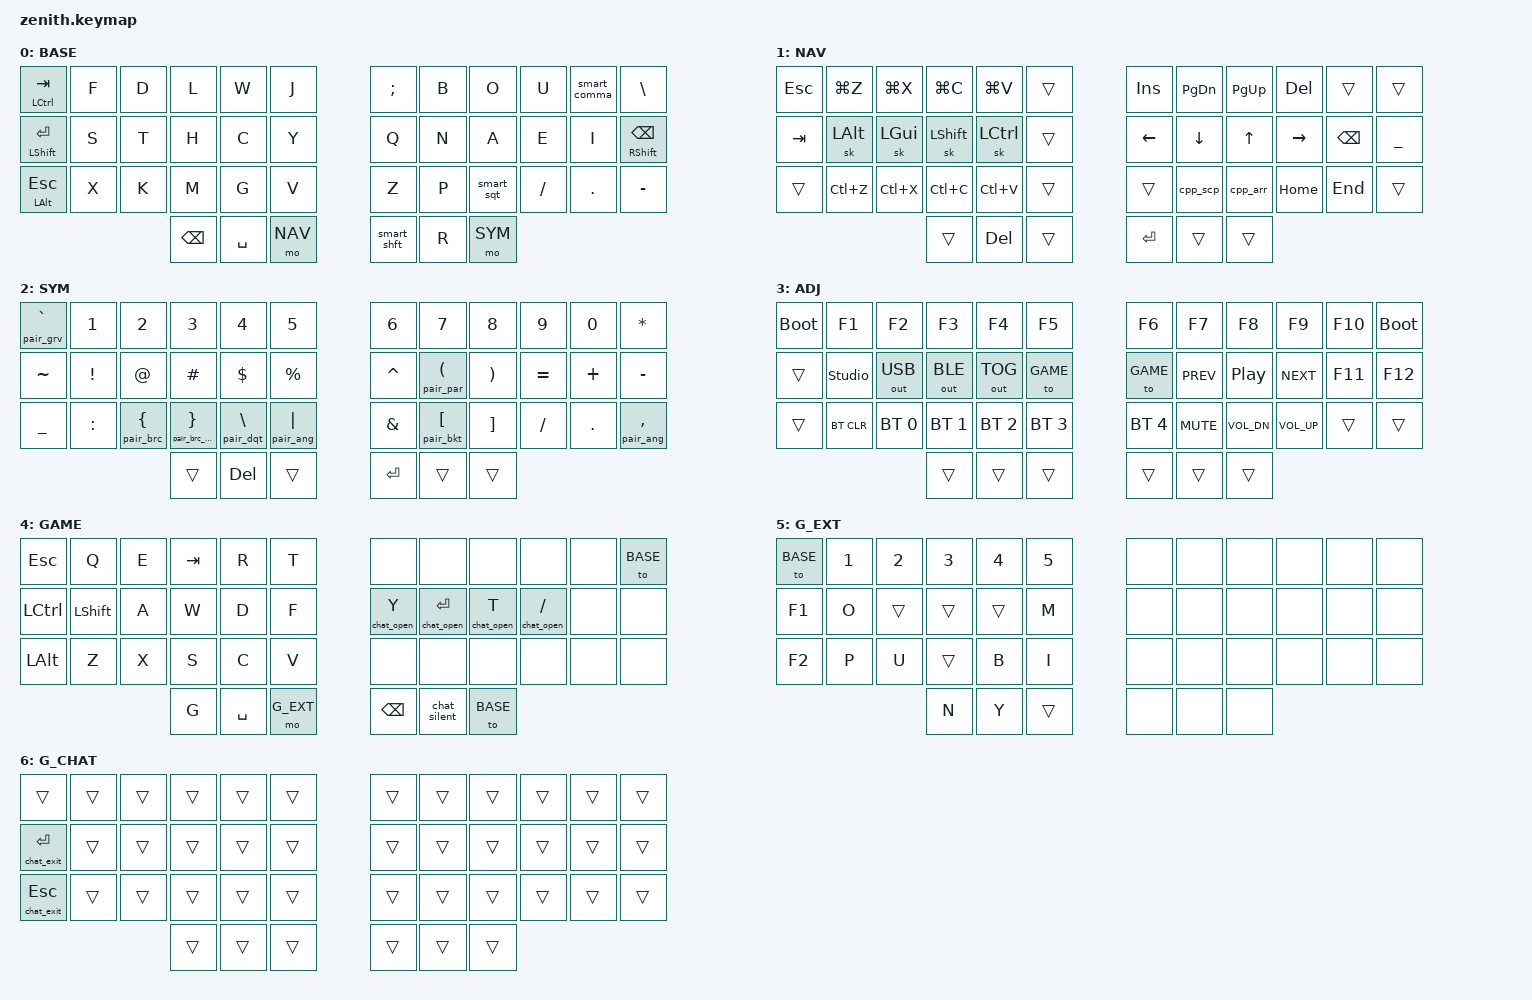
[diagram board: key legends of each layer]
/*
 * ZENITH 42-KEY — RACKET (BY GALILEOBLUES) + GAME & CHAT LAUNCHPAD
 *
 * Matrix / Binding Order:
 *   00 01 02 03 04 05     06 07 08 09 10 11
 *   12 13 14 15 16 17     18 19 20 21 22 23
 *   24 25 26 27 28 29     30 31 32 33 34 35
 *            36 37 38     39 40 41
 */

#include <behaviors.dtsi>
#include <dt-bindings/zmk/keys.h>
#include <dt-bindings/zmk/bt.h>
#include <dt-bindings/zmk/outputs.h>

#define BASE   0
#define NAV    1
#define SYM    2
#define ADJ    3
#define GAME   4
#define G_EXT  5
#define G_CHAT 6

&mt {
    flavor = "tap-preferred";
    tapping-term-ms = <200>;
    quick-tap-ms = <175>;
    require-prior-idle-ms = <125>;
};

&lt {
    flavor = "balanced";
    tapping-term-ms = <200>;
    quick-tap-ms = <175>;
};

&sk {
    release-after-ms = <1000>;
    quick-release;
    /delete-property/ ignore-modifiers;
};

&caps_word {
    continue-list = <UNDERSCORE MINUS BSPC DEL N1 N2 N3 N4 N5 N6 N7 N8 N9 N0>;
};

/ {
    behaviors {
        /*
         * Smart Shift (Mod-Morph):
         * - 1st Tap: Sticky Shift (&sk LSHFT)
         * - 2nd Tap (while Shift is active): Caps Word (&caps_word)!
         */
        smart_shft: smart_shift {
            compatible = "zmk,behavior-mod-morph";
            #binding-cells = <0>;
            bindings = <&sk LSHFT>, <&caps_word>;
            mods = <(MOD_LSFT|MOD_RSFT)>;
        };

        /*
         * Tap = Single Opening Symbol   (  [  {  }  `  '  "  <
         * Hold = Auto-Pair + Cursor In  () [] {} {}; `` '' "" <>
         */
        ht_par: hold_tap_paren {
            compatible = "zmk,behavior-hold-tap";
            #binding-cells = <2>;
            flavor = "tap-preferred";
            tapping-term-ms = <185>;
            quick-tap-ms = <150>;
            bindings = <&pair_par>, <&kp>;
        };
        ht_bkt: hold_tap_bracket {
            compatible = "zmk,behavior-hold-tap";
            #binding-cells = <2>;
            flavor = "tap-preferred";
            tapping-term-ms = <185>;
            quick-tap-ms = <150>;
            bindings = <&pair_bkt>, <&kp>;
        };
        ht_brc: hold_tap_brace {
            compatible = "zmk,behavior-hold-tap";
            #binding-cells = <2>;
            flavor = "tap-preferred";
            tapping-term-ms = <185>;
            quick-tap-ms = <150>;
            bindings = <&pair_brc>, <&kp>;
        };
        ht_brc_semi: hold_tap_brace_semi {
            compatible = "zmk,behavior-hold-tap";
            #binding-cells = <2>;
            flavor = "tap-preferred";
            tapping-term-ms = <185>;
            quick-tap-ms = <150>;
            bindings = <&pair_brc_semi>, <&kp>;
        };
        ht_grv: hold_tap_grave {
            compatible = "zmk,behavior-hold-tap";
            #binding-cells = <2>;
            flavor = "tap-preferred";
            tapping-term-ms = <185>;
            quick-tap-ms = <150>;
            bindings = <&pair_grv>, <&kp>;
        };
        ht_sqt: hold_tap_sqt {
            compatible = "zmk,behavior-hold-tap";
            #binding-cells = <2>;
            flavor = "tap-preferred";
            tapping-term-ms = <190>;
            quick-tap-ms = <150>;
            bindings = <&pair_sqt>, <&kp>;
        };
        ht_dqt: hold_tap_dqt {
            compatible = "zmk,behavior-hold-tap";
            #binding-cells = <2>;
            flavor = "tap-preferred";
            tapping-term-ms = <190>;
            quick-tap-ms = <150>;
            bindings = <&pair_dqt>, <&kp>;
        };
        ht_ang: hold_tap_angle {
            compatible = "zmk,behavior-hold-tap";
            #binding-cells = <2>;
            flavor = "tap-preferred";
            tapping-term-ms = <190>;
            quick-tap-ms = <150>;
            bindings = <&pair_ang>, <&kp>;
        };

        /*
         * Shift-Aware Quote on BASE Pos 32:
         * - Unshifted: Tap = '  | Hold = '|'
         * - Shifted:   Tap = "  | Hold = "|"
         */
        smart_sqt: smart_quote_morph {
            compatible = "zmk,behavior-mod-morph";
            #binding-cells = <0>;
            bindings = <&ht_sqt 0 SQT>, <&ht_dqt 0 DQT>;
            mods = <(MOD_LSFT|MOD_RSFT)>;
        };

        /*
         * Shift-Aware Comma / Angle Bracket on BASE Pos 10:
         * - Unshifted: Pure , (zero hold delay for normal typing!)
         * - Shifted:   Tap = <  | Hold = <|> (C++ templates & includes!)
         */
        smart_comma: smart_comma_morph {
            compatible = "zmk,behavior-mod-morph";
            #binding-cells = <0>;
            bindings = <&kp COMMA>, <&ht_ang 0 LT>;
            mods = <(MOD_LSFT|MOD_RSFT)>;
        };
    };

    conditional_layers {
        compatible = "zmk,conditional-layers";

        nav_sym_adjust {
            if-layers = <NAV SYM>;
            then-layer = <ADJ>;
        };
    };

    macros {
        /* Auto-closing bracket & quote pairs (places cursor inside!) */
        pair_par: pair_par {
            compatible = "zmk,behavior-macro";
            #binding-cells = <0>;
            wait-ms = <10>;
            tap-ms = <10>;
            bindings = <&kp LPAR &kp RPAR &kp LEFT>;
        };
        pair_bkt: pair_bkt {
            compatible = "zmk,behavior-macro";
            #binding-cells = <0>;
            wait-ms = <10>;
            tap-ms = <10>;
            bindings = <&kp LBKT &kp RBKT &kp LEFT>;
        };
        pair_brc: pair_brc {
            compatible = "zmk,behavior-macro";
            #binding-cells = <0>;
            wait-ms = <10>;
            tap-ms = <10>;
            bindings = <&kp LBRC &kp RBRC &kp LEFT>;
        };
        /* C++ Struct/Class/Lambda close: {|}; */
        pair_brc_semi: pair_brc_semi {
            compatible = "zmk,behavior-macro";
            #binding-cells = <0>;
            wait-ms = <10>;
            tap-ms = <10>;
            bindings = <&kp LBRC &kp RBRC &kp SEMI &kp LEFT &kp LEFT>;
        };
        /* Angle brackets <|> for C++ templates */
        pair_ang: pair_ang {
            compatible = "zmk,behavior-macro";
            #binding-cells = <0>;
            wait-ms = <10>;
            tap-ms = <10>;
            bindings
                = <&macro_tap &none>
                , <&macro_release &kp LSHFT &kp RSHFT>
                , <&macro_tap &kp LT &kp GT &kp LEFT>
                ;
        };
        /* Single quotes '|' */
        pair_sqt: pair_sqt {
            compatible = "zmk,behavior-macro";
            #binding-cells = <0>;
            wait-ms = <10>;
            tap-ms = <10>;
            bindings = <&kp SQT &kp SQT &kp LEFT>;
        };
        /* Double quotes "|" */
        pair_dqt: pair_dqt {
            compatible = "zmk,behavior-macro";
            #binding-cells = <0>;
            wait-ms = <10>;
            tap-ms = <10>;
            bindings
                = <&macro_tap &none>
                , <&macro_release &kp LSHFT &kp RSHFT>
                , <&macro_tap &kp DQT &kp DQT &kp LEFT>
                ;
        };
        /* Backticks `|` */
        pair_grv: pair_grv {
            compatible = "zmk,behavior-macro";
            #binding-cells = <0>;
            wait-ms = <10>;
            tap-ms = <10>;
            bindings = <&kp GRAVE &kp GRAVE &kp LEFT>;
        };

        /* C++ Quick Operators: -> and :: */
        cpp_arr: cpp_arrow {
            compatible = "zmk,behavior-macro";
            #binding-cells = <0>;
            wait-ms = <10>;
            tap-ms = <10>;
            bindings = <&kp MINUS &kp GT>;
        };
        cpp_scp: cpp_scope {
            compatible = "zmk,behavior-macro";
            #binding-cells = <0>;
            wait-ms = <10>;
            tap-ms = <10>;
            bindings = <&kp COLON &kp COLON>;
        };

        /*
         * 1. Opens in-game chat with a specific key (RET, T, Y, FSLH),
         *    and atomically switches to G_CHAT (which disables GAME and exposes BASE).
         */
        chat_open: chat_open {
            compatible = "zmk,behavior-macro-one-param";
            #binding-cells = <1>;
            wait-ms = <40>;
            tap-ms = <30>;
            bindings
                = <&macro_param_1to1>
                , <&kp MACRO_PLACEHOLDER>
                , <&to G_CHAT>
                ;
        };

        /*
         * 2. Enters typing mode WITHOUT firing a hotkey first
         *    (for clicking into inventory search bars, map markers, or Steam overlay).
         */
        chat_silent: chat_silent {
            compatible = "zmk,behavior-macro";
            #binding-cells = <0>;
            wait-ms = <10>;
            tap-ms = <10>;
            bindings = <&to G_CHAT>;
        };

        /*
         * 3. Sends RET or ESC to close the in-game chat box,
         *    and atomically switches back to GAME (disabling G_CHAT).
         */
        chat_exit: chat_exit {
            compatible = "zmk,behavior-macro-one-param";
            #binding-cells = <1>;
            wait-ms = <30>;
            tap-ms = <30>;
            bindings
                = <&macro_param_1to1>
                , <&kp MACRO_PLACEHOLDER>
                , <&to GAME>
                ;
        };
    };

    keymap {
        compatible = "zmk,keymap";

        /*
         * Layer 0: BASE (Racket by GalileoBlues — Symmetric Outer Columns + Mouse Mods)
         *
         * Ctrl/Tab    F    D    L     W    J      ;    B    O     U     ,     \
         * Shft/Ret    S    T    H     C    Y      Q    N    A     E     I     Shft/Bksp
         * Alt/Esc     X    K    M     G    V      Z    P    '     /     .     -
         *                       Bksp  Spc  NAV    SmartShft  R    SYM
         */
        base_layer {
            display-name = "BASE";
            bindings = <
                &mt LCTRL TAB  &kp F  &kp D  &kp L     &kp W      &kp J        &kp SEMI  &kp B  &kp O      &kp U     &smart_comma &kp BSLH
                &mt LSHFT RET  &kp S  &kp T  &kp H     &kp C      &kp Y        &kp Q     &kp N  &kp A      &kp E     &kp I        &mt RSHFT BSPC
                &mt LALT ESC   &kp X  &kp K  &kp M     &kp G      &kp V        &kp Z     &kp P  &smart_sqt &kp FSLH  &kp DOT      &kp MINUS
                                             &kp BSPC  &kp SPACE  &mo NAV      &smart_shft      &kp R      &mo SYM
            >;
        };

        /*
         * Layer 1: NAV (Sticky/Holdable Callum Mods + Vim/Arrow Nav + C++ Ops)
         *
         * Esc   mUndo   mCut    mCopy    mPste    ---      Ins   PgDn  PgUp  Del    ---   ---
         * Tab   skAlt   skGUI   skShft   skCtrl   ---      Left  Down  Up    Right  Bksp  _
         * ---   wUndo   wCut    wCopy    wPste    ---      ---   ::    ->    Home   End   ---
         *                       Bksp     Del      ---      Ret   ---   ---
         */
        nav_layer {
            display-name = "NAV";
            bindings = <
                &kp ESC  &kp LG(Z)  &kp LG(X)  &kp LG(C)  &kp LG(V)  &trans       &kp INS   &kp PG_DN  &kp PG_UP  &kp DEL    &trans    &trans
                &kp TAB  &sk LALT   &sk LGUI   &sk LSHFT  &sk LCTRL  &trans       &kp LEFT  &kp DOWN   &kp UP     &kp RIGHT  &kp BSPC  &kp UNDER
                &trans   &kp LC(Z)  &kp LC(X)  &kp LC(C)  &kp LC(V)  &trans       &trans    &cpp_scp   &cpp_arr   &kp HOME   &kp END   &trans
                                               &trans     &kp DEL    &trans       &kp RET   &trans     &trans
            >;
        };

        /*
         * Layer 2: SYM
         *
         * `     1    2    3    4    5      6    7    8    9    0    *
         * ~     !    @    #    $    %      ^    (    )    =    +    -
         * _     :    {    }    \    |      &    [    ]    /    .    ,
         *                 Bksp Del  ---    Ret  ---  ---
         */
        sym_layer {
            display-name = "SYM";
            bindings = <
                &ht_grv 0 GRAVE &kp N1    &kp N2          &kp N3               &kp N4         &kp N5            &kp N6     &kp N7         &kp N8    &kp N9     &kp N0    &kp ASTRK
                &kp TILDE       &kp EXCL  &kp AT          &kp HASH             &kp DLLR       &kp PRCNT         &kp CARET  &ht_par 0 LPAR &kp RPAR  &kp EQUAL  &kp PLUS  &kp MINUS
                &kp UNDER       &kp COLON &ht_brc 0 LBRC  &ht_brc_semi 0 RBRC  &ht_dqt 0 BSLH &ht_ang 0 PIPE    &kp AMPS   &ht_bkt 0 LBKT &kp RBKT  &kp FSLH   &kp DOT   &ht_ang 0 COMMA
                                                          &trans               &kp DEL        &trans            &kp RET    &trans         &trans
            >;
        };

        /*
         * Layer 3: ADJ — Active while NAV + SYM are held
         */
        adjust_layer {
            display-name = "ADJ";
            bindings = <
                &bootloader  &kp F1          &kp F2        &kp F3        &kp F4        &kp F5            &kp F6        &kp F7      &kp F8        &kp F9        &kp F10  &bootloader
                &trans       &studio_unlock  &out OUT_USB  &out OUT_BLE  &out OUT_TOG  &to GAME          &to GAME      &kp C_PREV  &kp C_PP      &kp C_NEXT    &kp F11  &kp F12
                &trans       &bt BT_CLR      &bt BT_SEL 0  &bt BT_SEL 1  &bt BT_SEL 2  &bt BT_SEL 3      &bt BT_SEL 4  &kp C_MUTE  &kp C_VOL_DN  &kp C_VOL_UP  &trans   &trans
                                                           &trans        &trans        &trans            &trans        &trans      &trans
            >;
        };

        /*
         * Layer 4: GAME — Left-Hand Layout + Atomic Chat Launchpad
         */
        game_layer {
            display-name = "GAME";
            bindings = <
                &kp ESC    &kp Q      &kp E  &kp TAB &kp R     &kp T          &none         &none           &none         &none            &none  &to BASE
                &kp LCTRL  &kp LSHFT  &kp A  &kp W   &kp D     &kp F          &chat_open Y  &chat_open RET  &chat_open T  &chat_open FSLH  &none  &none
                &kp LALT   &kp Z      &kp X  &kp S   &kp C     &kp V          &none         &none           &none         &none            &none  &none
                                             &kp G   &kp SPACE &mo G_EXT      &kp BSPC      &chat_silent    &to BASE
            >;
        };

        /*
         * Layer 5: G_EXT
         */
        game_ext_layer {
            display-name = "G_EXT";
            bindings = <
                &to BASE   &kp N1  &kp N2  &kp N3  &kp N4  &kp N5      &none  &none  &none  &none  &none  &none
                &kp F1     &kp O   &trans  &trans  &trans  &kp M       &none  &none  &none  &none  &none  &none
                &kp F2     &kp P   &kp U   &trans  &kp B   &kp I       &none  &none  &none  &none  &none  &none
                                           &kp N   &kp Y   &trans      &none  &none  &none
            >;
        };

        /*
         * Layer 6: G_CHAT — Transparent Chat Interceptor
         */
        game_chat_layer {
            display-name = "G_CHAT";
            bindings = <
                &trans          &trans  &trans  &trans  &trans  &trans      &trans          &trans  &trans  &trans  &trans  &trans
                &chat_exit RET  &trans  &trans  &trans  &trans  &trans      &trans          &trans  &trans  &trans  &trans  &trans
                &chat_exit ESC  &trans  &trans  &trans  &trans  &trans      &trans          &trans  &trans  &trans  &trans  &trans
                                                &trans  &trans  &trans      &trans          &trans  &trans
            >;
        };
    };
};
